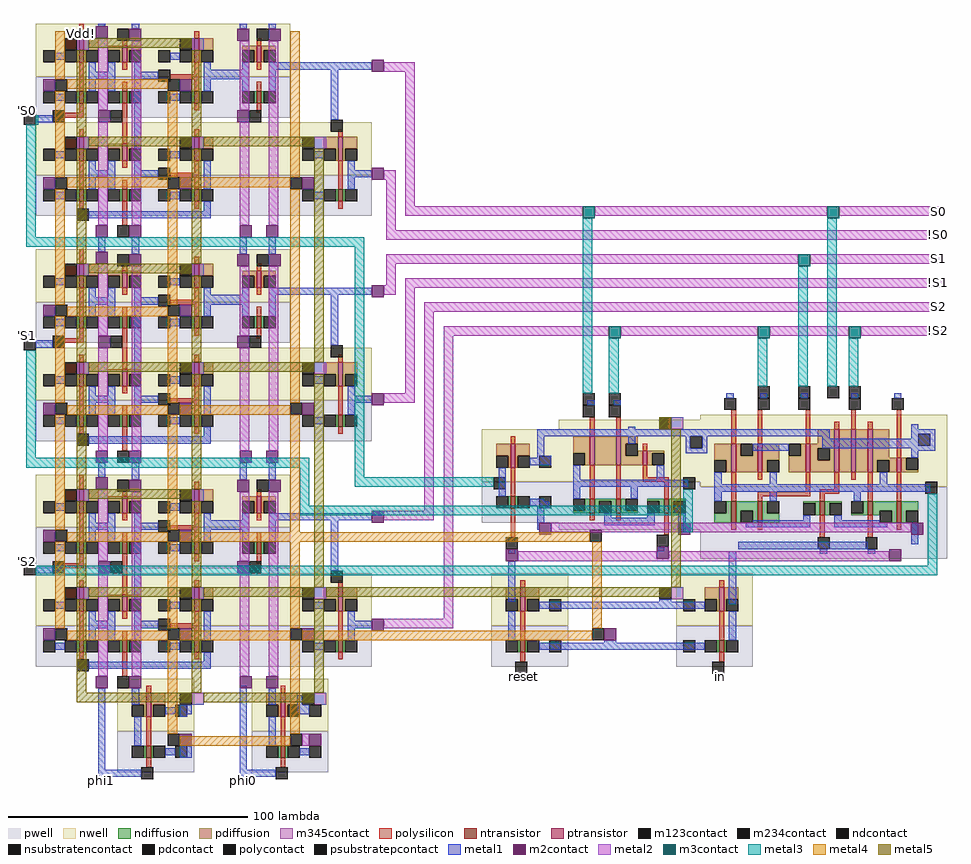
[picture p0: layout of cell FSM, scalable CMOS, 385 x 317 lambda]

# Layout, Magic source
magic
tech scmos
<< pwell >>
rect 199 12 201 15
rect 197 10 202 12
<< pdiffusion >>
rect 57 267 62 272
rect 57 226 62 231
rect 9 173 14 178
rect 57 173 62 178
rect 9 132 14 137
rect 57 132 62 137
rect 57 79 62 84
rect 57 38 62 43
<< polysilicon >>
rect 199 12 201 16
rect 282 12 284 16
rect 43 -32 45 -30
rect 99 -32 101 -29
<< polycontact >>
rect 197 7 202 12
rect 279 7 284 12
rect 41 -37 46 -32
rect 97 -37 102 -32
<< metal1 >>
rect -8 241 -5 243
rect 23 183 26 188
rect 37 183 40 188
rect 82 183 85 188
rect 94 183 97 188
rect -8 147 -5 149
rect 23 89 26 94
rect 37 88 40 93
rect 82 89 85 94
rect 94 90 97 95
rect -8 53 -5 55
rect 290 59 344 62
rect 194 37 197 54
rect 257 37 262 38
rect 209 34 275 37
rect 286 36 289 58
rect 234 20 239 21
rect 210 17 276 20
rect 199 5 202 7
rect 281 5 284 7
rect 23 -33 26 -1
rect 37 -6 40 1
rect 57 -10 62 -6
rect 57 -11 60 -10
rect 57 -28 62 -23
rect 23 -36 41 -33
rect 23 -39 26 -36
rect 82 -33 85 2
rect 94 -6 97 0
rect 106 -6 108 -2
rect 106 -9 111 -6
rect 108 -10 111 -9
rect 82 -36 97 -33
rect 82 -39 85 -36
<< m2contact >>
rect 137 258 142 263
rect 0 250 5 255
rect 57 250 62 255
rect 0 209 5 214
rect 57 209 62 214
rect 108 209 113 214
rect 137 213 142 218
rect 137 164 142 169
rect 0 156 5 161
rect 57 156 62 161
rect 0 115 5 120
rect 57 115 62 120
rect 108 115 113 120
rect 137 119 142 124
rect 137 70 142 75
rect 0 62 5 67
rect 57 62 62 67
rect 193 54 198 59
rect 256 55 261 60
rect 353 54 358 59
rect 0 21 5 26
rect 57 21 62 26
rect 108 21 113 26
rect 137 25 142 30
rect 234 21 239 26
rect 57 -23 62 -18
rect 111 -23 116 -18
<< metal2 >>
rect 142 258 155 262
rect 142 213 147 217
rect 143 192 147 213
rect 151 202 155 258
rect 151 198 225 202
rect 230 198 327 202
rect 332 198 375 202
rect 143 188 375 192
rect 143 178 315 182
rect 143 169 147 178
rect 320 178 375 182
rect 142 165 147 169
rect 151 168 375 172
rect 151 124 155 168
rect 142 120 155 124
rect 159 158 375 162
rect 159 75 163 158
rect 142 71 163 75
rect 167 148 236 152
rect 167 30 171 148
rect 241 148 298 152
rect 303 148 336 152
rect 341 148 375 152
rect 198 55 256 58
rect 261 55 353 58
rect 198 54 353 55
rect 142 26 171 30
rect 108 -23 111 -18
<< m3contact >>
rect 225 197 230 202
rect 327 197 332 202
rect 315 177 320 182
rect 236 147 241 152
rect 298 147 303 152
rect 336 147 341 152
<< m123contact >>
rect 9 267 14 272
rect 57 267 62 272
rect -8 236 -3 241
rect 9 226 14 231
rect 57 226 62 231
rect 108 226 113 231
rect 9 173 14 178
rect 57 173 62 178
rect -8 142 -3 147
rect 9 132 14 137
rect 57 132 62 137
rect 108 132 113 137
rect 9 79 14 84
rect 57 79 62 84
rect -8 48 -3 53
rect 9 38 14 43
rect 57 38 62 43
rect 108 38 113 43
rect 225 119 230 124
rect 236 119 241 124
rect 298 122 303 127
rect 315 122 320 127
rect 327 122 332 127
rect 336 122 341 127
rect 257 109 262 114
rect 188 84 193 89
rect 267 84 272 89
rect 368 82 373 87
rect 257 38 262 43
rect 57 -6 62 -1
rect 108 -6 113 -1
<< metal3 >>
rect -3 236 -2 240
rect -7 189 -3 236
rect -7 185 134 189
rect -7 97 -3 142
rect -7 93 111 97
rect 107 77 111 93
rect 130 89 134 185
rect 225 124 229 197
rect 236 124 240 147
rect 298 127 302 147
rect 315 127 319 177
rect 327 127 331 197
rect 336 127 340 147
rect 130 85 188 89
rect 267 77 271 84
rect 107 73 271 77
rect 267 66 271 73
rect 369 52 373 82
rect -3 48 373 52
<< m234contact >>
rect 5 250 10 255
rect 52 250 57 255
rect 5 209 10 214
rect 52 209 57 214
rect 103 209 108 214
rect 5 156 10 161
rect 52 156 57 161
rect 5 115 10 120
rect 52 115 57 120
rect 103 115 108 120
rect 5 62 10 67
rect 52 62 57 67
rect 228 62 233 67
rect 5 21 10 26
rect 52 21 57 26
rect 103 21 108 26
rect 229 21 234 26
rect 52 -23 57 -18
rect 103 -23 108 -18
<< metal4 >>
rect 5 255 9 275
rect 10 251 52 255
rect 5 214 9 250
rect 52 214 56 250
rect 103 214 107 275
rect 10 210 52 214
rect 57 210 103 214
rect 5 161 9 209
rect 52 161 56 209
rect 10 156 52 160
rect 5 120 9 156
rect 52 120 56 156
rect 103 120 107 209
rect 10 115 52 119
rect 57 115 103 119
rect 5 67 9 115
rect 52 67 56 115
rect 10 62 52 66
rect 103 66 107 115
rect 261 109 262 114
rect 57 62 228 66
rect 5 26 9 62
rect 52 26 56 62
rect 103 26 107 62
rect 229 26 233 62
rect 10 21 52 25
rect 57 21 103 25
rect 108 21 229 25
rect 52 -18 56 21
rect 103 -18 107 21
rect 57 -23 103 -19
<< m345contact >>
rect 14 267 19 272
rect 62 267 67 272
rect 14 226 19 231
rect 62 226 67 231
rect 113 226 118 231
rect 14 173 19 178
rect 62 173 67 178
rect 14 132 19 137
rect 62 132 67 137
rect 113 132 118 137
rect 14 79 19 84
rect 62 79 67 84
rect 262 109 267 114
rect 14 38 19 43
rect 62 38 67 43
rect 113 38 118 43
rect 262 38 267 43
rect 62 -6 67 -1
rect 113 -6 118 -1
<< metal5 >>
rect 14 272 18 275
rect 19 268 62 272
rect 14 231 18 267
rect 62 231 66 267
rect 19 227 62 231
rect 67 227 113 231
rect 14 178 18 226
rect 62 178 66 226
rect 19 174 62 178
rect 14 137 18 173
rect 62 137 66 173
rect 113 137 117 226
rect 19 133 62 137
rect 67 133 113 137
rect 14 84 18 132
rect 62 84 66 132
rect 19 80 62 84
rect 14 43 18 79
rect 62 43 66 79
rect 113 43 117 132
rect 257 109 262 114
rect 262 43 266 109
rect 19 39 62 43
rect 67 39 113 43
rect 118 39 262 43
rect 14 -1 18 38
rect 62 -1 66 38
rect 113 -1 117 38
rect 14 -5 62 -1
rect 67 -5 113 -1
use inv  inv_0
transform -1 0 207 0 1 33
box -12 -23 20 16
use inv  inv_1
transform 1 0 276 0 1 33
box -12 -23 20 16
use inv  inv_2
transform -1 0 51 0 1 -11
box -12 -23 20 16
use inv  inv_3
transform -1 0 107 0 1 -11
box -12 -23 20 16
use reg_FSM  reg_FSM_0
array 0 0 140 0 2 94
transform 1 0 -3 0 1 -1
box 0 0 140 91
use S  S_0
transform 1 0 216 0 1 58
box -33 -3 161 66
<< labels >>
rlabel metal1 199 5 202 7 5 reset
rlabel metal1 281 5 284 7 5 in
rlabel metal1 -8 241 -5 243 1 'S0
rlabel metal1 -8 147 -5 149 1 'S1
rlabel metal1 -8 53 -5 55 1 'S2
rlabel metal2 372 198 375 202 3 S0
rlabel metal2 372 188 375 192 3 !S0
rlabel metal2 372 178 375 182 3 S1
rlabel metal2 372 168 375 172 3 !S1
rlabel metal2 372 148 375 152 3 !S2
rlabel metal2 372 158 375 162 3 S2
rlabel metal1 23 -39 26 -36 5 phi1
rlabel metal1 82 -39 85 -36 5 phi0
rlabel metal5 14 273 18 275 1 Vdd!
rlabel metal4 5 273 9 275 1 GND!
<< end >>

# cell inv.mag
magic
tech scmos
<< nwell >>
rect -12 -6 20 16
<< pwell >>
rect -12 -23 20 -6
<< ntransistor >>
rect 6 -17 8 -12
<< ptransistor >>
rect 6 0 8 10
<< ndiffusion >>
rect 5 -17 6 -12
rect 8 -17 9 -12
<< pdiffusion >>
rect 0 5 6 10
rect 5 0 6 5
rect 8 5 14 10
rect 8 0 9 5
<< ndcontact >>
rect 0 -17 5 -12
rect 9 -17 14 -12
<< pdcontact >>
rect 0 0 5 5
rect 9 0 14 5
<< psubstratepcontact >>
rect -9 -17 -4 -12
<< nsubstratencontact >>
rect -9 0 -4 5
<< polysilicon >>
rect 6 10 8 13
rect 6 -12 8 0
rect 6 -20 8 -17
<< metal1 >>
rect -4 1 0 4
rect 10 -12 13 0
rect -4 -16 0 -13
<< labels >>
rlabel metal1 -3 2 -2 3 1 Vdd!
rlabel metal1 -3 -15 -2 -14 1 GND!
<< end >>

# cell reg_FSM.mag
magic
tech scmos
<< nwell >>
rect 22 86 106 91
rect 77 28 112 50
<< pwell >>
rect 76 11 111 28
<< polycontact >>
rect 123 46 128 51
<< metal1 >>
rect 106 72 140 75
rect 0 50 2 53
rect 123 51 126 72
rect 132 27 140 30
use inv  inv_0
transform 1 0 120 0 1 34
box -12 -23 20 16
use reg  reg_0
transform 1 0 0 0 1 9
box 0 -9 106 82
<< labels >>
rlabel metal1 138 72 140 75 3 out
rlabel metal1 138 27 140 30 3 !out
<< end >>

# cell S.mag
magic
tech scmos
<< nwell >>
rect -10 48 -6 51
rect -10 40 -7 48
rect 52 41 61 50
rect 147 42 156 51
rect -10 36 -4 40
<< pwell >>
rect -8 13 -5 21
<< nsubstratencontact >>
rect 54 43 59 48
<< polysilicon >>
rect -21 6 -19 16
<< polycontact >>
rect -23 1 -18 6
<< metal1 >>
rect -10 48 112 51
rect -10 40 -7 48
rect 52 43 54 48
rect 59 43 61 48
rect 109 44 112 48
rect 52 41 61 43
rect 147 42 156 51
rect -10 36 -4 40
rect -10 21 -7 22
rect -10 18 -5 21
rect -10 12 -7 18
rect -10 9 -9 12
rect -22 -1 -19 1
<< m2contact >>
rect -9 7 -4 12
rect 49 7 54 12
rect 146 7 151 12
<< metal2 >>
rect -4 8 49 12
rect 54 8 146 12
use inv  inv_0
transform -1 0 -13 0 1 35
box -12 -23 20 16
use S1  S1_0
transform 1 0 5 0 1 16
box -6 -16 53 47
use S2  S2_0
transform 1 0 108 0 1 32
box -50 -35 53 34
<< labels >>
rlabel metal1 -22 -1 -19 1 5 !reset
<< end >>

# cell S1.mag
magic
tech scmos
<< nwell >>
rect -6 13 53 39
<< pwell >>
rect -6 -7 53 13
<< ntransistor >>
rect 7 0 9 6
rect 18 0 20 6
rect 38 0 40 6
<< ptransistor >>
rect 7 20 9 32
rect 18 20 20 32
rect 29 20 31 26
<< ndiffusion >>
rect 5 1 7 6
rect 0 0 7 1
rect 9 5 18 6
rect 9 0 11 5
rect 16 0 18 5
rect 20 1 22 6
rect 20 0 27 1
rect 31 5 38 6
rect 36 0 38 5
rect 40 5 47 6
rect 40 0 42 5
<< pdiffusion >>
rect 0 25 7 32
rect 5 20 7 25
rect 9 20 18 32
rect 20 29 27 32
rect 20 24 22 29
rect 27 24 29 26
rect 20 20 29 24
rect 31 25 38 26
rect 31 20 33 25
<< ndcontact >>
rect 0 1 5 6
rect 11 0 16 5
rect 22 1 27 6
rect 31 0 36 5
rect 42 0 47 5
<< pdcontact >>
rect 0 20 5 25
rect 22 24 27 29
rect 33 20 38 25
<< polysilicon >>
rect 7 32 9 40
rect 18 32 20 40
rect 29 26 31 29
rect 7 6 9 20
rect 18 6 20 20
rect 29 15 31 20
rect 29 13 40 15
rect 38 6 40 13
rect 7 -3 9 0
rect 18 -3 20 0
rect 38 -9 40 0
<< polycontact >>
rect 4 40 9 45
rect 15 40 20 45
rect 35 -14 40 -9
<< metal1 >>
rect 6 45 9 47
rect 17 45 20 47
rect 23 29 26 36
rect 0 14 3 20
rect 35 14 38 20
rect 0 11 48 14
rect 0 6 3 11
rect 24 6 27 11
rect 13 -2 16 0
rect 31 -2 34 0
rect 13 -5 34 -2
rect 44 -8 47 0
rect 35 -16 38 -14
<< labels >>
rlabel metal1 23 34 26 36 1 Vdd!
rlabel metal1 44 -8 47 -6 5 GND!
rlabel metal1 6 45 9 47 1 S0
rlabel metal1 17 45 20 47 1 !S2
rlabel metal1 46 11 48 14 3 out
rlabel metal1 35 -16 38 -14 5 !reset
<< end >>

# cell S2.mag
magic
tech scmos
<< pwell >>
rect -50 -35 53 -5
<< nwell >>
rect -50 -5 53 25
<< polysilicon >>
rect -37 13 -35 27
rect -26 13 -24 27
rect -6 13 -4 27
rect 6 19 8 22
rect 13 19 15 27
rect 20 19 22 22
rect 32 7 34 27
rect -37 -11 -35 1
rect -26 -2 -24 1
rect -6 -7 -4 1
rect 6 -6 8 1
rect 13 -2 15 1
rect -26 -9 -4 -7
rect 0 -8 8 -6
rect -26 -11 -24 -9
rect 0 -11 2 -8
rect 20 -11 22 1
rect 32 -11 34 1
rect -37 -23 -35 -20
rect -26 -23 -24 -20
rect 0 -26 2 -17
rect 20 -26 22 -17
rect 32 -23 34 -20
<< ndiffusion >>
rect -39 -16 -37 -11
rect -44 -20 -37 -16
rect -35 -15 -26 -11
rect -35 -20 -33 -15
rect -28 -20 -26 -15
rect -24 -16 -22 -11
rect -24 -20 -17 -16
rect -7 -12 0 -11
rect -2 -17 0 -12
rect 2 -12 9 -11
rect 2 -17 4 -12
rect 18 -16 20 -11
rect 13 -17 20 -16
rect 22 -15 32 -11
rect 22 -17 25 -15
rect 30 -20 32 -15
rect 34 -15 41 -11
rect 34 -20 36 -15
<< pdiffusion >>
rect -1 13 6 19
rect -44 6 -37 13
rect -39 1 -37 6
rect -35 8 -33 13
rect -28 8 -26 13
rect -35 1 -26 8
rect -24 6 -17 13
rect -24 1 -22 6
rect -8 8 -6 13
rect -13 1 -6 8
rect -4 11 6 13
rect -4 6 -1 11
rect 4 6 6 11
rect -4 1 6 6
rect 8 1 13 19
rect 15 1 20 19
rect 22 7 29 19
rect 22 6 32 7
rect 22 1 24 6
rect 29 1 32 6
rect 34 2 36 7
rect 34 1 41 2
<< metal1 >>
rect -39 32 -36 34
rect -25 32 -22 34
rect -8 32 -5 34
rect 13 32 16 34
rect 31 32 34 34
rect 38 15 41 21
rect -28 10 -13 13
rect 1 11 41 15
rect 38 7 41 11
rect -44 -4 -41 1
rect -21 -4 -18 1
rect 25 -4 28 1
rect -44 -7 46 -4
rect -44 -11 -41 -7
rect -21 -11 -18 -7
rect 14 -11 17 -7
rect -7 -19 -4 -17
rect -28 -20 -4 -19
rect -31 -22 -4 -20
rect 6 -19 9 -17
rect 6 -20 25 -19
rect 6 -22 28 -20
rect 38 -29 41 -20
rect 0 -33 3 -31
rect 20 -33 23 -31
<< ntransistor >>
rect -37 -20 -35 -11
rect -26 -20 -24 -11
rect 0 -17 2 -11
rect 20 -17 22 -11
rect 32 -20 34 -11
<< ptransistor >>
rect -37 1 -35 13
rect -26 1 -24 13
rect -6 1 -4 13
rect 6 1 8 19
rect 13 1 15 19
rect 20 1 22 19
rect 32 1 34 7
<< polycontact >>
rect -40 27 -35 32
rect -26 27 -21 32
rect -9 27 -4 32
rect 12 27 17 32
rect 30 27 35 32
rect -1 -31 4 -26
rect 19 -31 24 -26
<< ndcontact >>
rect -44 -16 -39 -11
rect -33 -20 -28 -15
rect -22 -16 -17 -11
rect -7 -17 -2 -12
rect 4 -17 9 -12
rect 13 -16 18 -11
rect 25 -20 30 -15
rect 36 -20 41 -15
<< pdcontact >>
rect -44 1 -39 6
rect -33 8 -28 13
rect -22 1 -17 6
rect -13 8 -8 13
rect -1 6 4 11
rect 24 1 29 6
rect 36 2 41 7
<< nsubstratencontact >>
rect 41 12 46 17
<< labels >>
rlabel metal1 38 -29 41 -27 5 GND!
rlabel metal1 38 19 41 21 1 Vdd!
flabel metal1 44 -7 46 -4 0 FreeSans 8 0 0 0 out
flabel metal1 0 -33 3 -31 0 FreeSans 8 0 0 0 S0
flabel metal1 -8 32 -5 34 0 FreeSans 8 0 0 0 S1
flabel metal1 13 32 16 34 0 FreeSans 8 0 0 0 inv_S2
flabel metal1 -25 32 -22 34 0 FreeSans 8 0 0 0 inv_S2
rlabel metal1 31 32 34 34 1 inv_reset
rlabel metal1 20 -33 23 -31 1 inv_in
flabel metal1 -39 32 -36 34 0 FreeSans 8 0 0 0 inv_in
<< end >>

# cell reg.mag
magic
tech scmos
<< polysilicon >>
rect 18 78 20 82
rect 56 59 66 61
rect 18 45 20 47
rect 12 43 20 45
rect 36 40 38 47
rect 36 -2 38 1
<< polycontact >>
rect 34 75 39 80
rect 92 75 97 80
rect 51 58 56 63
rect 7 41 12 46
rect 31 41 36 46
rect 89 41 94 46
rect 34 -7 39 -2
<< metal1 >>
rect 26 81 29 82
rect 40 80 43 82
rect 85 80 88 82
rect 97 80 100 82
rect 97 63 106 66
rect 25 59 31 62
rect 44 59 51 62
rect 73 59 87 63
rect 0 41 7 44
rect 41 41 44 55
rect 26 -9 29 -7
rect 40 -9 43 -7
rect 85 -9 88 -7
rect 97 -9 100 -7
<< m2contact >>
rect 25 76 30 81
rect 39 75 44 80
rect 84 75 89 80
rect 97 75 102 80
rect 26 41 31 46
rect 84 41 89 46
rect 25 -7 30 -2
rect 39 -7 44 -2
rect 85 -7 90 -2
rect 96 -7 101 -2
<< metal2 >>
rect 26 46 30 76
rect 26 -2 30 41
rect 40 -2 44 75
rect 85 46 89 75
rect 85 -2 89 41
rect 97 -2 101 75
use inv  inv_1
transform 1 0 12 0 1 66
box -12 -23 20 16
use stat  stat_0
transform 1 0 24 0 1 2
box -24 -2 56 39
use inv  inv_0
transform 1 0 60 0 1 66
box -12 -23 20 16
use trans  trans_0
transform 1 0 33 0 1 65
box -9 -22 17 14
use trans  trans_1
transform 1 0 89 0 1 65
box -9 -22 17 14
<< labels >>
rlabel metal2 26 0 30 1 1 w
rlabel metal1 40 -8 43 -7 1 not_w
rlabel metal1 26 -8 29 -7 1 w
rlabel metal1 97 -8 100 -7 1 not_r
rlabel metal1 85 -8 88 -7 1 r
rlabel metal1 104 63 106 66 7 out
rlabel metal1 0 41 2 44 3 x
<< end >>

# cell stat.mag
magic
tech scmos
<< nwell >>
rect 8 36 25 39
<< polysilicon >>
rect 12 32 14 39
rect 32 16 42 18
rect 12 -2 14 3
<< polycontact >>
rect 27 15 32 20
rect -7 -2 -2 3
<< metal1 >>
rect 17 28 20 39
rect 1 16 7 19
rect 20 16 27 19
rect 46 2 49 6
rect -2 -1 49 2
use inv  inv_0
transform 1 0 -12 0 1 23
box -12 -23 20 16
use inv  inv_1
transform 1 0 36 0 1 23
box -12 -23 20 16
use trans  trans_0
transform 1 0 9 0 1 22
box -9 -22 17 14
<< labels >>
rlabel polysilicon 12 37 14 39 5 w
rlabel polysilicon 12 -2 14 -1 1 not_w
rlabel metal1 18 38 20 39 5 x
<< end >>

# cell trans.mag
magic
tech scmos
<< nwell >>
rect -9 -5 17 14
<< pwell >>
rect -9 -22 17 -5
<< ntransistor >>
rect 3 -16 5 -11
<< ptransistor >>
rect 3 1 5 8
<< ndiffusion >>
rect 2 -16 3 -11
rect 5 -16 6 -11
<< pdiffusion >>
rect -3 6 3 8
rect 2 1 3 6
rect 5 6 11 8
rect 5 1 6 6
<< ndcontact >>
rect -3 -16 2 -11
rect 6 -16 11 -11
<< pdcontact >>
rect -3 1 2 6
rect 6 1 11 6
<< polysilicon >>
rect 3 8 5 11
rect 3 -2 5 1
rect 3 -11 5 -7
rect 3 -20 5 -16
<< metal1 >>
rect -3 -11 0 1
rect 8 -11 11 1
<< end >>
